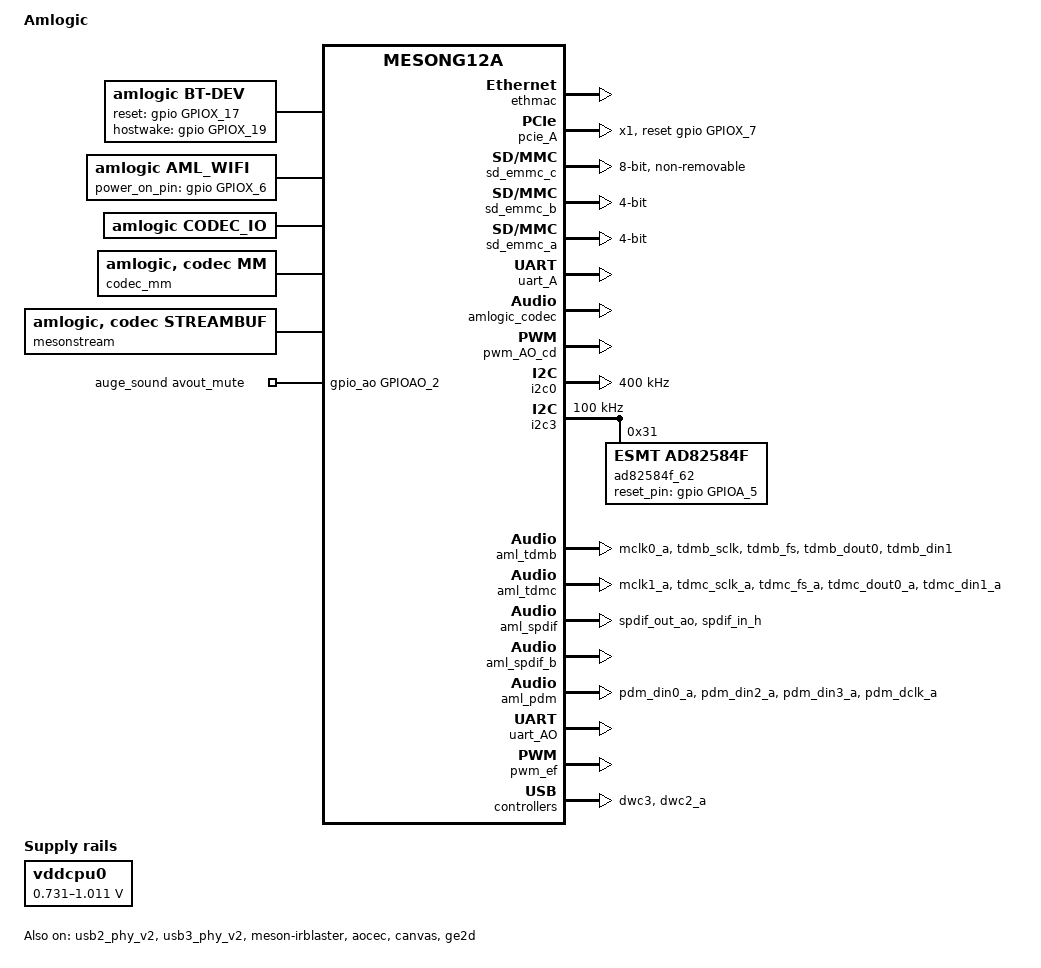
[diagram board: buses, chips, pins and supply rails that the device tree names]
/*
 * arch/arm64/boot/dts/amlogic/g12a_skt.dts
 *
 * Copyright (C) 2017 Amlogic, Inc. All rights reserved.
 *
 * This program is free software; you can redistribute it and/or modify
 * it under the terms of the GNU General Public License as published by
 * the Free Software Foundation; either version 2 of the License, or
 * (at your option) any later version.
 *
 * This program is distributed in the hope that it will be useful, but WITHOUT
 * ANY WARRANTY; without even the implied warranty of MERCHANTABILITY or
 * FITNESS FOR A PARTICULAR PURPOSE.  See the GNU General Public License for
 * more details.
 *
 */

/dts-v1/;

#include "mesong12a.dtsi"
#include "partition_mbox_normal.dtsi"
#include "mesong12a_skt-panel.dtsi"

/ {
	model = "Amlogic";
	compatible = "amlogic, g12a";
	interrupt-parent = <&gic>;
	#address-cells = <2>;
	#size-cells = <2>;

	aliases {
		serial0 = &uart_AO;
		serial1 = &uart_A;
		serial2 = &uart_B;
		serial3 = &uart_C;
		serial4 = &uart_AO_B;
		tsensor0 = &p_tsensor;
		tsensor1 = &d_tsensor;
	};

	memory@00000000 {
		device_type = "memory";
		linux,usable-memory = <0x0 0x100000 0x0 0x7ff00000>;
	};

	reserved-memory {
		#address-cells = <2>;
		#size-cells = <2>;
		ranges;
		/* global autoconfigured region for contiguous allocations */
		secmon_reserved:linux,secmon {
			compatible = "shared-dma-pool";
			reusable;
			size = <0x0 0x400000>;
			alignment = <0x0 0x400000>;
			alloc-ranges = <0x0 0x05000000 0x0 0x400000>;
		};

		secos_reserved:linux,secos {
			status = "disable";
			compatible = "amlogic, aml_secos_memory";
			reg = <0x0 0x05300000 0x0 0x2000000>;
			no-map;
		};
		logo_reserved:linux,meson-fb {
			compatible = "shared-dma-pool";
			reusable;
			size = <0x0 0x800000>;
			alignment = <0x0 0x400000>;
			alloc-ranges = <0x0 0x7f800000 0x0 0x800000>;
		};
		ion_cma_reserved:linux,ion-dev {
			compatible = "shared-dma-pool";
			reusable;
			size = <0x0 0x8000000>;
			alignment = <0x0 0x400000>;
		};
		//di_reserved:linux,di {
			//compatible = "amlogic, di-mem";
			/* buffer_size = 3621952(yuv422 8bit) */
			/* 4179008(yuv422 10bit full pack mode) */
			/** 10x3621952=34.6M(0x23) support 8bit **/
			/** 10x4736064=45.2M(0x2e) support 12bit **/
			/** 10x4179008=40M(0x28) support 10bit **/
			//size = <0x0 0x2800000>;
			//no-map;
		//};
		/*di CMA pool */
		di_cma_reserved:linux,di_cma {
			compatible = "shared-dma-pool";
			reusable;
			/* buffer_size = 3621952(yuv422 8bit)
			 *  | 4736064(yuv422 10bit)
			 *  | 4074560(yuv422 10bit full pack mode)
			 * 10x3621952=34.6M(0x23) support 8bit
			 * 10x4736064=45.2M(0x2e) support 12bit
			 * 10x4074560=40M(0x28) support 10bit
			 */
			size = <0x0 0x02800000>;
			alignment = <0x0 0x400000>;
		};
		/*  POST PROCESS MANAGER */
		ppmgr_reserved:linux,ppmgr {
			compatible = "shared-dma-pool";
			size = <0x0 0x0>;
		};

		codec_mm_cma:linux,codec_mm_cma {
			compatible = "shared-dma-pool";
			reusable;
			/* ion_codec_mm max can alloc size 80M*/
			size = <0x0 0x13400000>;
			alignment = <0x0 0x400000>;
			linux,contiguous-region;
		};
		/* codec shared reserved */
		codec_mm_reserved:linux,codec_mm_reserved {
			compatible = "amlogic, codec-mm-reserved";
			size = <0x0 0x0>;
			alignment = <0x0 0x100000>;
			//no-map;
		};
		/*  vdin0 CMA pool */
		vdin0_cma_reserved:linux,vdin0_cma {
			compatible = "shared-dma-pool";
			reusable;
		/* 1920x1080x2x4  =16+4 M */
			size = <0x0 0x04000000>;
			alignment = <0x0 0x400000>;
		};
		/*  vdin1 CMA pool */
		vdin1_cma_reserved:linux,vdin1_cma {
			compatible = "shared-dma-pool";
			reusable;
			/* 1920x1080x2x4  =16 M */
			size = <0x0 0x04000000>;
			alignment = <0x0 0x400000>;
		};
	};

	meson-irblaster {
		compatible = "amlogic, meson_irblaster";
		dev_name = "meson-irblaster";
		reg = <0x0 0xff80014c 0x0 0x10>,
			<0x0 0xff800040 0x0 0x4>;
		pinctrl-names = "default";
		pinctrl-0 = <&irblaster_pins>;
		status = "okay";
	};

	vout {
		compatible = "amlogic, vout";
		dev_name = "vout";
		status = "okay";
	};

	vout2 {
		compatible = "amlogic, vout2";
		dev_name = "vout";
		status = "okay";
	};
/*external_phy please use this
	ethmac: ethernet@ff3f0000 {
		compatible = "amlogic, g12a-eth-dwmac", "snps,dwmac";
		reg = <0x0 0xff3f0000 0x0 0x10000
			0x0 0xff634540 0x0 0x8
			0x0 0xff64c000 0x0 0xa0>;
		reg-names = "eth_base", "eth_cfg", "eth_pll";
		interrupts = <0 8 1>;
		interrupt-names = "macirq";
		status = "okay";
		clocks = <&clkc CLKID_ETH_CORE>;
		clock-names = "ethclk81";

		pinctrl-names = "external_eth_pins";
		pinctrl-0 = <&external_eth_pins>;
		mc_val = <0x1621>;

		internal_phy=<0>;
	};

*/
	ethmac: ethernet@ff3f0000 {
		compatible = "amlogic, g12a-eth-dwmac","snps,dwmac";
		reg = <0x0 0xff3f0000 0x0 0x10000
			0x0 0xff634540 0x0 0x8
			0x0 0xff64c000 0x0 0xa0>;
		reg-names = "eth_base", "eth_cfg", "eth_pll";
		interrupts = <0 8 1>;
		interrupt-names = "macirq";
		status = "okay";
		clocks = <&clkc CLKID_ETH_CORE>;
		clock-names = "ethclk81";

		pinctrl-names = "internal_eth_pins";
		pinctrl-0 = <&internal_eth_pins>;
		mc_val = <0x4be04>;

		internal_phy=<1>;
	};

	amhdmitx: amhdmitx{
		compatible = "amlogic, amhdmitx";
		dev_name = "amhdmitx";
		status = "okay";
		vend-data = <&vend_data>;
		pinctrl-names="default", "hdmitx_i2c";
		pinctrl-0=<&hdmitx_hpd &hdmitx_ddc>;
		pinctrl-1=<&hdmitx_hpd_gpio &i2c3_master_pins1>;
		clocks = <&clkc CLKID_VAPB_MUX>,
			 <&clkc CLKID_VPU_MUX>;
		clock-names = "hdmi_vapb_clk",
			      "hdmi_vpu_clk";
		/* HPD, 57 + 32 = 89; CEC, 151 + 32 = 183*/
		interrupts = <0 57 1>;
		interrupt-names = "hdmitx_hpd";
		/* 0:M8B 1:GXBB 2:GXTVBB 3:GXL 4:GXM
		 * 5:TXL 6:TXLX 7:AXG 8:GXLX 9:TXHD
		 * 10:G12A
		 */
		ic_type = <10>;
		vend_data: vend_data{ /* Should modified by Customer */
			vendor_name = "Amlogic"; /* Max Chars: 8 */
			/* standards.ieee.org/develop/regauth/oui/oui.txt */
			vendor_id = <0x000000>;
		};
	};

	vdac {
		compatible = "amlogic, vdac";
		dev_name = "vdac";
		status = "okay";
	};

	cvbsout {
		compatible = "amlogic, cvbsout-g12a";
		dev_name = "cvbsout";
		status = "okay";

		/* performance: reg_address, reg_value */
		/* s905x */
		performance = <0x1bf0  0x9
			0x1b56  0x343
			0x1b12  0x8080
			0x1b05  0xfd
			0x1c59  0xf752
			0xffff  0x0>; /* ending flag */
	};

	bt-dev{
		compatible = "amlogic, bt-dev";
		dev_name = "bt-dev";
		status = "okay";
		gpio_reset = <&gpio       GPIOX_17       GPIO_ACTIVE_HIGH>;
		gpio_hostwake = <&gpio       GPIOX_19       GPIO_ACTIVE_HIGH>;
	};

	wifi{
		compatible = "amlogic, aml_wifi";
		dev_name = "aml_wifi";
		status = "okay";
		interrupt_pin = <&gpio       GPIOX_7       GPIO_ACTIVE_HIGH>;
		irq_trigger_type = "GPIO_IRQ_LOW";
		power_on_pin = <&gpio       GPIOX_6       GPIO_ACTIVE_HIGH>;
		dhd_static_buf;	//if use bcm wifi, config dhd_static_buf
		pinctrl-names = "default";
		pinctrl-0 = <&pwm_e_pins>;
		pwm_config = <&wifi_pwm_conf>;
	};

	wifi_pwm_conf:wifi_pwm_conf{
		pwm_channel1_conf {
			pwms = <&pwm_ef MESON_PWM_0 30040 0>;
			duty-cycle = <15020>;
			times = <10>;
		};
		pwm_channel2_conf {
			pwms = <&pwm_ef MESON_PWM_2 30030 0>;
			duty-cycle = <15015>;
			times = <12>;
		};
	};

	pcie_A: pcieA@fc000000 {
		compatible = "amlogic, amlogic-pcie-v2", "snps,dw-pcie";
		reg = <0x0 0xfc000000 0x0 0x400000
			0x0 0xff648000 0x0 0x2000
			0x0 0xfc400000 0x0 0x200000
			0x0 0xff646000 0x0 0x2000
			0x0 0xffd01080 0x0 0x10>;
		reg-names = "elbi", "cfg", "config", "phy", "reset";
		reset-gpio = <&gpio GPIOX_7 GPIO_ACTIVE_HIGH>;
		interrupts = <0 221 0>, <0 223 0>;
		#interrupt-cells = <1>;
		bus-range = <0x0 0xff>;
		#address-cells = <3>;
		#size-cells = <2>;
		device_type = "pci";
		ranges = <0x81000000 0 0 0 0xfc600000 0x0 0x100000
			/* downstream I/O */
			0x82000000 0 0xfc700000 0x0 0xfc700000 0 0x1900000>;
			/* non-prefetchable memory */
		num-lanes = <1>;
		pcie-num = <1>;

		clocks = <&clkc CLKID_PCIE_PLL
			&clkc CLKID_PCIE_COMB
			&clkc CLKID_PCIE_PHY>;
		clock-names = "pcie_refpll",
				"pcie",
				"pcie_phy";
		/*reset-gpio-type 0:Shared pad(no reset)1:OD pad2:Normal pad*/
		gpio-type = <2>;
		pcie-apb-rst-bit = <15>;
		pcie-phy-rst-bit = <14>;
		pcie-ctrl-a-rst-bit = <12>;
		status = "okay";
	};

	sd_emmc_c: emmc@ffe07000 {
		status = "okay";
		compatible = "amlogic, meson-mmc-g12a";
		reg = <0x0 0xffe07000 0x0 0x800>;
		interrupts = <0 191 1>;
		pinctrl-names = "emmc_clk_cmd_pins", "emmc_all_pins";
		pinctrl-0 = <&emmc_clk_cmd_pins>;
		pinctrl-1 = <&emmc_conf_pull_up &emmc_conf_pull_done>;
		clocks = <&clkc CLKID_SD_EMMC_C>,
			   <&clkc CLKID_SD_EMMC_C_P0_COMP>,
			   <&clkc CLKID_FCLK_DIV2>,
			   <&clkc CLKID_FCLK_DIV5>,
			   <&xtal>;
		clock-names = "core", "clkin0", "clkin1", "clkin2", "xtal";

		bus-width = <8>;
		cap-sd-highspeed;
		cap-mmc-highspeed;
		/* mmc-ddr-1_8v; */
		/* mmc-hs200-1_8v; */

		max-frequency = <200000000>;
		non-removable;
		disable-wp;
		emmc {
			pinname = "emmc";
			ocr_avail = <0x200080>; /**VDD voltage 3.3 ~ 3.4 */
			caps = "MMC_CAP_8_BIT_DATA",
				 "MMC_CAP_MMC_HIGHSPEED",
				 "MMC_CAP_SD_HIGHSPEED",
				 "MMC_CAP_NONREMOVABLE",
				/* "MMC_CAP_1_8V_DDR", */
				 "MMC_CAP_HW_RESET",
				 "MMC_CAP_ERASE",
				 "MMC_CAP_CMD23";
			/* caps2 = "MMC_CAP2_HS200", "MMC_CAP2_HS400";*/
			f_min = <400000>;
			f_max = <200000000>;
			tx_delay = <0>;
			max_req_size = <0x20000>; /**128KB*/
			gpio_dat3 = <&gpio BOOT_3 GPIO_ACTIVE_HIGH>;
			hw_reset = <&gpio BOOT_9 GPIO_ACTIVE_HIGH>;
			card_type = <1>;
			/* 1:mmc card(include eMMC),
			 * 2:sd card(include tSD)
			 */
		};
	};

	sd_emmc_b:sd@ffe05000 {
		status = "okay";
		compatible = "amlogic, meson-mmc-g12a";
		reg = <0x0 0xffe05000 0x0 0x800>;
		interrupts = <0 190 1>;

		pinctrl-names = "sd_all_pins",
			"sd_clk_cmd_pins";
		pinctrl-0 = <&sd_all_pins>;
		pinctrl-1 = <&sd_clk_cmd_pins>;

		clocks = <&clkc CLKID_SD_EMMC_B>,
			<&clkc CLKID_SD_EMMC_B_P0_COMP>,
			<&clkc CLKID_FCLK_DIV2>,
			<&clkc CLKID_FCLK_DIV5>,
			<&xtal>;
		clock-names = "core", "clkin0", "clkin1", "clkin2", "xtal";

		bus-width = <4>;
		cap-sd-highspeed;
		cap-mmc-highspeed;
		max-frequency = <100000000>;
		disable-wp;
		sd {
			pinname = "sd";
			ocr_avail = <0x200080>; /**VDD voltage 3.3 ~ 3.4 */
			caps = "MMC_CAP_4_BIT_DATA",
				 "MMC_CAP_MMC_HIGHSPEED",
				 "MMC_CAP_SD_HIGHSPEED",
				 "MMC_CAP_UHS_SDR12",
				 "MMC_CAP_UHS_SDR25",
				 "MMC_CAP_UHS_SDR50";
			f_min = <400000>;
			f_max = <200000000>;
			max_req_size = <0x20000>; /**128KB*/
			gpio_dat3 = <&gpio GPIOC_4 GPIO_ACTIVE_HIGH>;
			jtag_pin = <&gpio GPIOC_0 GPIO_ACTIVE_HIGH>;
			gpio_cd = <&gpio GPIOC_6 GPIO_ACTIVE_HIGH>;
			card_type = <5>;
			/* 3:sdio device(ie:sdio-wifi),
			 * 4:SD combo (IO+mem) card
			 */
		};
	};
	sd_emmc_a:sdio@ffe03000 {
		status = "okay";
		compatible = "amlogic, meson-mmc-g12a";
		reg = <0x0 0xffe03000 0x0 0x800>;
		interrupts = <0 189 4>;

		pinctrl-names = "sdio_all_pins",
			"sdio_clk_cmd_pins";
		pinctrl-0 = <&sdio_all_pins>;
		pinctrl-1 = <&sdio_clk_cmd_pins>;

		clocks = <&clkc CLKID_SD_EMMC_A>,
			<&clkc CLKID_SD_EMMC_A_P0_COMP>,
			<&clkc CLKID_FCLK_DIV2>,
			<&clkc CLKID_FCLK_DIV5>,
			<&xtal>;
		clock-names = "core", "clkin0", "clkin1", "clkin2", "xtal";

		bus-width = <4>;
		cap-sd-highspeed;
		cap-mmc-highspeed;
		max-frequency = <100000000>;
		disable-wp;
		sdio {
			pinname = "sdio";
			ocr_avail = <0x200080>; /**VDD voltage 3.3 ~ 3.4 */
			caps = "MMC_CAP_4_BIT_DATA",
				 "MMC_CAP_MMC_HIGHSPEED",
				 "MMC_CAP_SD_HIGHSPEED",
				 "MMC_CAP_NONREMOVABLE",
				 "MMC_CAP_UHS_SDR12",
				 "MMC_CAP_UHS_SDR25",
				 "MMC_CAP_UHS_SDR50",
				 "MMC_CAP_UHS_SDR104",
				 "MMC_PM_KEEP_POWER",
				 "MMC_CAP_SDIO_IRQ";
			f_min = <400000>;
			f_max = <200000000>;
			/* max_req_size = <0x20000>; */ /**128KB*/
			max_req_size = <0x400>;
			card_type = <3>;
			/* 3:sdio device(ie:sdio-wifi),
			 * 4:SD combo (IO+mem) card
			 */
			dmode = "pio";
		};
	};
	nand: nfc@0 {
		compatible = "amlogic, aml_mtd_nand";
		dev_name = "mtdnand";
		status = "disabled";
		reg = <0x0 0xFFE07800 0x0 0x200>;
		interrupts = <0 34 1>;

		pinctrl-names = "nand_rb_mod","nand_norb_mod", "nand_cs_only";
		pinctrl-0 = <&all_nand_pins>;
		pinctrl-1 = <&all_nand_pins>;
		pinctrl-2 = <&nand_cs_pins>;
		clocks = <&clkc CLKID_SD_EMMC_C>,
				<&clkc CLKID_SD_EMMC_C_P0_COMP>;
		clock-names = "core", "clkin";

		device_id = <0>;
		/*fip/tpl configurations, must be same
		 * with uboot if bl_mode was set as 1
		 * bl_mode: 0 compact mode; 1 descrete mode
		 * if bl_mode was set as 1, fip configuration will work
		 */
		bl_mode = <1>;
		/*copy count of fip*/
		fip_copies = <4>;
		/*size of each fip copy */
		fip_size = <0x200000>;
		nand_clk_ctrl = <0xFFE07000>;
		plat-names = "bootloader","nandnormal";
		plat-num = <2>;
		plat-part-0 = <&bootloader>;
		plat-part-1 = <&nandnormal>;
		bootloader: bootloader{
			enable_pad ="ce0";
			busy_pad = "rb0";
			timming_mode = "mode5";
			bch_mode = "bch8_1k";
			t_rea = <20>;
			t_rhoh = <15>;
			chip_num = <1>;
			part_num = <0>;
			rb_detect = <1>;
		};
		nandnormal: nandnormal{
			enable_pad ="ce0";
			busy_pad = "rb0";
			timming_mode = "mode5";
			bch_mode = "bch8_1k";
			plane_mode = "twoplane";
			t_rea = <20>;
			t_rhoh = <15>;
			chip_num = <2>;
			part_num = <3>;
			partition = <&nand_partitions>;
			rb_detect = <1>;
		};
		nand_partitions:nand_partition{
			/*
			 * if bl_mode is 1, tpl size was generate by
			 * fip_copies * fip_size which
			 * will not skip bad when calculating
			 * the partition size;
			 *
			 * if bl_mode is 0,
			 * tpl partition must be comment out.
			 */
			tpl{
				offset=<0x0 0x0>;
				size=<0x0 0x0>;
			};
			logo{
				offset=<0x0 0x0>;
				size=<0x0 0x200000>;
			};
			recovery{
				offset=<0x0 0x0>;
				size=<0x0 0x1000000>;
			};
			boot{
				offset=<0x0 0x0>;
				size=<0x0 0x1000000>;
			};
			system{
				offset=<0x0 0x0>;
				size=<0x0 0x4000000>;
			};
			data{
				offset=<0xffffffff 0xffffffff>;
				size=<0x0 0x0>;
			};
		};
	};

	uart_A: serial@ffd24000 {
		compatible = "amlogic, meson-uart";
		reg = <0x0 0xffd24000 0x0 0x18>;
		interrupts = <0 26 1>;
		status = "okay";
		clocks = <&xtal
			&clkc CLKID_UART0>;
		clock-names = "clk_uart",
			"clk_gate";
		fifosize = < 128 >;
		pinctrl-names = "default";
		pinctrl-0 = <&a_uart_pins>;
	};

	uart_B: serial@ffd23000 {
		compatible = "amlogic, meson-uart";
		reg = <0x0 0xffd23000 0x0 0x18>;
		interrupts = <0 75 1>;
		status = "disable";
		clocks = <&xtal
			&clkc CLKID_UART1>;
		clock-names = "clk_uart",
			"clk_gate";
		fifosize = < 64 >;
		pinctrl-names = "default";
		pinctrl-0 = <&b_uart_pins>;
	};

	uart_C: serial@ffd22000 {
		compatible = "amlogic, meson-uart";
		reg = <0x0 0xffd22000 0x0 0x18>;
		interrupts = <0 93 1>;
		status = "disable";
		clocks = <&xtal
			&clkc CLKID_UART1>;
		clock-names = "clk_uart",
			"clk_gate";
		fifosize = < 64 >;
		pinctrl-names = "default";
		pinctrl-0 = <&c_uart_pins>;
	};

	aocec: aocec {
		compatible = "amlogic, aocec-g12a";
		device_name = "aocec";
		status = "okay";
		vendor_name = "Amlogic"; /* Max Chars: 8     */
		/* Refer to the following URL at:
		 * http://standards.ieee.org/develop/regauth/oui/oui.txt
		 */
		vendor_id = <0x000000>;
		product_desc = "G12A"; /* Max Chars: 16    */
		cec_osd_string = "AML_MBOX"; /* Max Chars: 14    */
		port_num = <1>;
		ee_cec;
		arc_port_mask = <0x2>;
		interrupts = <0 203 1>;
		interrupt-names = "hdmi_aocecb";
		pinctrl-names = "default";
		pinctrl-0=<&eecec_b>;
		reg = <0x0 0xFF80023c 0x0 0x4
		       0x0 0xFF800000 0x0 0x400>;
	};

	canvas{
		compatible = "amlogic, meson, canvas";
		dev_name = "amlogic-canvas";
		status = "okay";
		reg = <0x0 0xff638000 0x0 0x2000>;
	};

	codec_io {
		compatible = "amlogic, codec_io";
		status = "okay";
		#address-cells=<2>;
		#size-cells=<2>;
		ranges;
		io_cbus_base{
			reg = <0x0 0xffd00000 0x0 0x100000>;
		};
		io_dos_base{
			reg = <0x0 0xff620000 0x0 0x10000>;
		};
		io_hiubus_base{
			reg = <0x0 0xff63c000 0x0 0x2000>;
		};
		io_aobus_base{
			reg = <0x0 0xff800000 0x0 0x10000>;
		};
		io_vcbus_base{
			reg = <0x0 0xff900000 0x0 0x40000>;
		};
		io_dmc_base{
			reg = <0x0 0xff638000 0x0 0x2000>;
		};
	};

	codec_mm {
		compatible = "amlogic, codec, mm";
		memory-region = <&codec_mm_cma &codec_mm_reserved>;
		dev_name = "codec_mm";
		status = "okay";
	};

	mesonstream {
		compatible = "amlogic, codec, streambuf";
		dev_name = "mesonstream";
		status = "okay";
		clocks = <&clkc CLKID_DOS_PARSER
			&clkc CLKID_DEMUX
			&clkc CLKID_DOS
			&clkc CLKID_VDEC_MUX
			&clkc CLKID_HCODEC_MUX
			&clkc CLKID_HEVC_MUX
			&clkc CLKID_HEVCF_MUX>;
		clock-names = "parser_top",
			"demux",
			"vdec",
			"clk_vdec_mux",
			"clk_hcodec_mux",
			"clk_hevc_mux",
			"clk_hevcb_mux";
	};

	vdec {
		compatible = "amlogic, vdec";
		dev_name = "vdec.0";
		status = "okay";
		interrupts = <0 3 1
			0 23 1
			0 32 1
			0 43 1
			0 44 1
			0 45 1>;
		interrupt-names = "vsync",
			"demux",
			"parser",
			"mailbox_0",
			"mailbox_1",
			"mailbox_2";
	};

	rdma{
		compatible = "amlogic, meson, rdma";
		dev_name = "amlogic-rdma";
		status = "okay";
		interrupts = <0 89 1>;
		interrupt-names = "rdma";
	};

	ge2d {
		compatible = "amlogic, ge2d-g12a";
		dev_name = "ge2d";
		status = "okay";
		interrupts = <0 146 1>;
		interrupt-names = "ge2d";
		clocks = <&clkc CLKID_VAPB_MUX>,
			<&clkc CLKID_G2D>,
			<&clkc CLKID_GE2D_GATE>;
		clock-names = "clk_vapb_0",
			"clk_ge2d",
			"clk_ge2d_gate";
		reg = <0x0 0xff940000 0x0 0x10000>;
	};

	ppmgr {
		compatible = "amlogic, ppmgr";
		memory-region = <&ppmgr_reserved>;
		dev_name = "ppmgr";
		status = "okay";
	};

	deinterlace {
		compatible = "amlogic, deinterlace";
		status = "okay";
		/* 0:use reserved; 1:use cma; 2:use cma as reserved */
		flag_cma = <1>;
		//memory-region = <&di_reserved>;
		memory-region = <&di_cma_reserved>;
		interrupts = <0 46 1
				0 40 1>;
		interrupt-names = "pre_irq", "post_irq";
		clocks = <&clkc CLKID_VPU_MUX>,
			<&clkc CLKID_FCLK_DIV4>,
			<&clkc CLKID_VPU_CLKB_TMP_COMP>,
			<&clkc CLKID_VPU_CLKB_COMP>;
		clock-names = "vpu_mux",
			"fclk_div4",
			"vpu_clkb_tmp_composite",
			"vpu_clkb_composite";
		clock-range = <333 666>;
		/* buffer-size = <3621952>;(yuv422 8bit) */
		buffer-size = <4074560>;/*yuv422 fullpack*/
		/* reserve-iomap = "true"; */
		/* if enable nr10bit, set nr10bit-support to 1 */
		post-wr-support = <1>;
		nr10bit-support = <1>;
		nrds-enable = <1>;
		pps-enable = <1>;
	};
	ionvideo {
		compatible = "amlogic, ionvideo";
		dev_name = "ionvideo";
		status = "okay";
	};
	/*if you want to use vdin just modify status to "ok"*/
	vdin0 {
		compatible = "amlogic, vdin";
		memory-region = <&vdin0_cma_reserved>;
		dev_name = "vdin0";
		status = "okay";
		reserve-iomap = "true";
		flag_cma = <0>;/*1:share with codec_mm;2:cma alone*/
		/*MByte, if 10bit disable: 64M(YUV422),
		 *if 10bit enable: 64*1.5 = 96M(YUV422)
		 *if support 4K2K-YUV444-10bit-WR:3840*2160*4*4 ~= 128M
		 *if support 4K2K-YUV422-10bit-wr:3840*2160*3*4 ~= 96M
		 *if support 4K2K-YUV422-8BIT-WR:3840*2160*2*4 ~= 64M
		 *if support 1080p-YUV422-8BIT-WR:1920*1080*2*4 ~= 16M
		 */
		/*cma_size = <16>;*/
		interrupts = <0 83 1>;
		rdma-irq = <2>;
		/*clocks = <&clock CLK_FPLL_DIV5>,
		 *	<&clock CLK_VDIN_MEAS_CLK>;
		 *clock-names = "fclk_div5", "cts_vdin_meas_clk";
		 */
		vdin_id = <0>;
		/*vdin write mem color depth support:
		 *bit0:support 8bit
		 *bit1:support 9bit
		 *bit2:support 10bit
		 *bit3:support 12bit
		 *bit4:support yuv422 10bit full pack mode (from txl new add)
		 */
		tv_bit_mode = <0x15>;
	};
	vdin1 {
		compatible = "amlogic, vdin";
		memory-region = <&vdin1_cma_reserved>;
		dev_name = "vdin1";
		status = "okay";
		reserve-iomap = "true";
		flag_cma = <0>;/*1:share with codec_mm;0:cma alone*/
		interrupts = <0 85 1>;
		rdma-irq = <4>;
		/*clocks = <&clock CLK_FPLL_DIV5>,
		 *	<&clock CLK_VDIN_MEAS_CLK>;
		 *clock-names = "fclk_div5", "cts_vdin_meas_clk";
		 */
		vdin_id = <1>;
		/*vdin write mem color depth support:
		 *bit0:support 8bit
		 *bit1:support 9bit
		 *bit2:support 10bit
		 *bit3:support 12bit
		 */
		tv_bit_mode = <1>;
	};

	unifykey{
		compatible = "amlogic, unifykey";
		status = "ok";

		unifykey-num = <14>;
		unifykey-index-0 = <&keysn_0>;
		unifykey-index-1 = <&keysn_1>;
		unifykey-index-2 = <&keysn_2>;
		unifykey-index-3 = <&keysn_3>;
		unifykey-index-4 = <&keysn_4>;
		unifykey-index-5 = <&keysn_5>;
		unifykey-index-6 = <&keysn_6>;
		unifykey-index-7 = <&keysn_7>;
		unifykey-index-8 = <&keysn_8>;
		unifykey-index-9 = <&keysn_9>;
		unifykey-index-10= <&keysn_10>;
		unifykey-index-11= <&keysn_11>;
		unifykey-index-12= <&keysn_12>;
		unifykey-index-13= <&keysn_13>;

		keysn_0: key_0{
			key-name = "usid";
			key-device = "normal";
			key-permit = "read","write","del";
		};
		keysn_1:key_1{
			key-name = "mac";
			key-device = "normal";
			key-permit = "read","write","del";
		};
		keysn_2:key_2{
			key-name = "hdcp";
			key-device = "secure";
			key-type = "sha1";
			key-permit = "read","write","del";
		};
		keysn_3:key_3{
			key-name = "secure_boot_set";
			key-device = "efuse";
			key-permit = "write";
		};
		keysn_4:key_4{
			key-name = "mac_bt";
			key-device = "normal";
			key-permit = "read","write","del";
			key-type  = "mac";
		};
		keysn_5:key_5{
			key-name = "mac_wifi";
			key-device = "normal";
			key-permit = "read","write","del";
			key-type = "mac";
		};
		keysn_6:key_6{
			key-name = "hdcp2_tx";
			key-device = "normal";
			key-permit = "read","write","del";
		};
		keysn_7:key_7{
			key-name = "hdcp2_rx";
			key-device = "normal";
			key-permit = "read","write","del";
		};
		keysn_8:key_8{
			key-name = "widevinekeybox";
			key-device = "secure";
			key-permit = "read","write","del";
		};
		keysn_9:key_9{
			key-name = "deviceid";
			key-device = "normal";
			key-permit = "read","write","del";
		};
		keysn_10:key_10{
			key-name = "hdcp22_fw_private";
			key-device = "secure";
			key-permit = "read","write","del";
		};
		keysn_11:key_11{
			key-name = "PlayReadykeybox25";
			key-device = "secure";
			key-permit = "read","write","del";
		};
		keysn_12:key_12{
			key-name = "prpubkeybox";// PlayReady
			key-device = "secure";
			key-permit = "read","write","del";
		};
		keysn_13:key_13{
			key-name = "prprivkeybox";// PlayReady
			key-device = "secure";
			key-permit = "read","write","del";
		};
	};//End unifykey

	amlvecm {
		compatible = "amlogic, vecm";
		dev_name = "aml_vecm";
		status = "okay";
		gamma_en = <0>;/*1:enabel ;0:disable*/
		wb_en = <0>;/*1:enabel ;0:disable*/
		cm_en = <0>;/*1:enabel ;0:disable*/
	};

	meson-amvideom {
		compatible = "amlogic, amvideom";
		dev_name = "amvideom";
		status = "okay";
		interrupts = <0 3 1>;
		interrupt-names = "vsync";
	};

	meson-fb {
		compatible = "amlogic, meson-g12a";
		memory-region = <&logo_reserved>;
		dev_name = "meson-fb";
		status = "okay";
		interrupts = <0 3 1
			0 89 1>;
		interrupt-names = "viu-vsync", "rdma";
		mem_size = <0x00800000 0x1980000 0x100000 0x100000>;
		/* uboot logo,fb0/fb1 memory size,if afbcd fb0=0x01851000*/
		display_mode_default = "1080p60hz";
		scale_mode = <1>;
		/** 0:VPU free scale 1:OSD free scale 2:OSD super scale */
		display_size_default = <1920 1080 1920 2160 32>;
		/*1920*1080*4*3 = 0x17BB000*/
		pxp_mode = <0>; /** 0:normal mode 1:pxp mode */
		mem_alloc = <0>;
		logo_addr = "0x3f800000";
	};

	/* Audio Related start */
	/* Sound iomap */
	aml_snd_iomap {
		compatible = "amlogic, snd-iomap";
		status = "okay";
		#address-cells=<2>;
		#size-cells=<2>;
		ranges;
		pdm_bus {
			reg = <0x0 0xFF640000 0x0 0x2000>;
		};
		audiobus_base {
			reg = <0x0 0xFF642000 0x0 0x2000>;
		};
		audiolocker_base {
			reg = <0x0 0xFF64A000 0x0 0x2000>;
		};
		eqdrc_base {
			reg = <0x0 0xFF642800 0x0 0x1800>;
		};
		reset_base {
			reg = <0x0 0xFFD01000 0x0 0x1000>;
		};
	};
	pdm_codec:dummy{
		#sound-dai-cells = <0>;
		compatible = "amlogic, pdm_dummy_codec";
		status = "okay";
	};
	dummy_codec:dummy{
		#sound-dai-cells = <0>;
		compatible = "amlogic, aml_dummy_codec";
		status = "okay";
	};
	amlogic_codec:t9015{
		#sound-dai-cells = <0>;
		compatible = "amlogic, aml_codec_T9015";
		reg = <0x0 0xFF632000 0x0 0x2000>;
		is_auge_used = <1>; /* meson or auge chipset used */
		tdmout_index = <1>;
		status = "okay";
	};
	auge_sound {
		compatible = "amlogic, g12a-sound-card";
		aml-audio-card,name = "AML-AUGESOUND";

		aml-audio-card,aux-devs = <&amlogic_codec>;
		/*avout mute gpio*/
		avout_mute-gpios = <&gpio_ao GPIOAO_2 GPIO_ACTIVE_HIGH>;

		aml-audio-card,dai-link@0 {
			format = "dsp_a";
			mclk-fs = <512>;
			//continuous-clock;
			//bitclock-inversion;
			//frame-inversion;
			//bitclock-master = <&tdmacodec>;
			//frame-master = <&tdmacodec>;
			tdmacpu: cpu {
				sound-dai = <&aml_tdma>;
				dai-tdm-slot-tx-mask =
							<1 1 1 1 1 1 1 1>;
				dai-tdm-slot-rx-mask =
							<1 1 1 1 1 1 1 1>;
				dai-tdm-slot-num = <8>;
				dai-tdm-slot-width = <32>;
				system-clock-frequency = <24576000>;
			};
			tdmacodec: codec {
				sound-dai = <&dummy_codec &dummy_codec>;
			};
		};

		aml-audio-card,dai-link@1 {
			format = "i2s"; /*"dsp_a";*/
			mclk-fs = <256>;
			//continuous-clock;
			//bitclock-inversion;
			//frame-inversion;
			bitclock-master = <&aml_tdmb>;
			frame-master = <&aml_tdmb>;
			cpu {
				sound-dai = <&aml_tdmb>;
				dai-tdm-slot-tx-mask = <1 1>;
				dai-tdm-slot-rx-mask = <1 1>;
				dai-tdm-slot-num = <2>;
				/*
				 * dai-tdm-slot-tx-mask =
				 *	<1 1 1 1 1 1 1 1>;
				 * dai-tdm-slot-rx-mask =
				 *	<1 1 1 1 1 1 1 1>;
				 * dai-tdm-slot-num = <8>;
				 */
				dai-tdm-slot-width = <32>;
				system-clock-frequency = <12288000>;
			};
			codec {
				sound-dai = <&dummy_codec &amlogic_codec
					/*&ad82584f_62*/>;
			};
		};

		aml-audio-card,dai-link@2 {
			format = "i2s";
			mclk-fs = <256>;
			continuous-clock;
			//bitclock-inversion;
			//frame-inversion;
			bitclock-master = <&aml_tdmc>;
			frame-master = <&aml_tdmc>;
			cpu {
				sound-dai = <&aml_tdmc>;
				dai-tdm-slot-tx-mask = <1 1>;
				dai-tdm-slot-rx-mask = <1 1>;
				dai-tdm-slot-num = <2>;
				dai-tdm-slot-width = <32>;
				system-clock-frequency = <12288000>;
			};
			codec {
				sound-dai = <&dummy_codec &dummy_codec>;
			};
		};

		aml-audio-card,dai-link@3 {
			mclk-fs = <64>;
			cpu {
				sound-dai = <&aml_pdm>;
			};
			codec {
				sound-dai = <&pdm_codec>;
			};
		};

		aml-audio-card,dai-link@4 {
			mclk-fs = <128>;
			cpu {
				sound-dai = <&aml_spdif>;
				system-clock-frequency = <6144000>;
			};
			codec {
				sound-dai = <&dummy_codec>;
			};
		};
		aml-audio-card,dai-link@5 {
			mclk-fs = <128>;
			cpu {
				sound-dai = <&aml_spdif_b>;
				system-clock-frequency = <6144000>;
			};
			codec {
				sound-dai = <&dummy_codec>;
			};
		};
	};
	audiolocker: locker {
		compatible = "amlogic, audiolocker";
		clocks = <&clkaudio CLKID_AUDIO_LOCKER_OUT
				&clkaudio CLKID_AUDIO_LOCKER_IN
				&clkaudio CLKID_AUDIO_MCLK_D
				&clkaudio CLKID_AUDIO_MCLK_E
				&clkc CLKID_MPLL1
				&clkc CLKID_MPLL2>;
		clock-names = "lock_out", "lock_in", "out_src",
					"in_src", "out_calc", "in_ref";
		interrupts = <GIC_SPI 1 IRQ_TYPE_EDGE_RISING>;
		interrupt-names = "irq";
		frequency = <49000000>; /* pll */
		dividor = <49>; /* locker's parent */
		status = "disabled";
	};
	/* Audio Related end */

	cpu_opp_table0: cpu_opp_table0 {
		compatible = "operating-points-v2";
		opp-shared;

		opp00 {
			opp-hz = /bits/ 64 <100000000>;
			opp-microvolt = <731000>;
		};
		opp01 {
			opp-hz = /bits/ 64 <250000000>;
			opp-microvolt = <731000>;
		};
		opp02 {
			opp-hz = /bits/ 64 <500000000>;
			opp-microvolt = <731000>;
		};
		opp03 {
			opp-hz = /bits/ 64 <667000000>;
			opp-microvolt = <731000>;
		};
		opp04 {
			opp-hz = /bits/ 64 <1000000000>;
			opp-microvolt = <731000>;
		};
		opp05 {
			opp-hz = /bits/ 64 <1200000000>;
			opp-microvolt = <731000>;
		};
		opp06 {
			opp-hz = /bits/ 64 <1398000000>;
			opp-microvolt = <761000>;
		};
		opp07 {
			opp-hz = /bits/ 64 <1512000000>;
			opp-microvolt = <791000>;
		};
		opp08 {
			opp-hz = /bits/ 64 <1608000000>;
			opp-microvolt = <831000>;
		};
		opp09 {
			opp-hz = /bits/ 64 <1896000000>;
			opp-microvolt = <981000>;
		};
	};

	cpufreq-meson {
		compatible = "amlogic, cpufreq-meson";
		pinctrl-names = "default";
		pinctrl-0 = <&pwm_ao_d_pins3>;
		status = "okay";
	};

	vddcpu0: pwmao_d-regulator {
		compatible = "pwm-regulator";
		pwms = <&pwm_AO_cd MESON_PWM_1 1210 0>;
		regulator-name = "vddcpu0";
		regulator-min-microvolt = <731000>;
		regulator-max-microvolt = <1011000>;
		regulator-always-on;
		max-duty-cycle = <1210>;
		/* Voltage Duty-Cycle */
		voltage-table = <1011000 0>,
			<1001000 6>,
			<991000 9>,
			<981000 12>,
			<971000 16>,
			<961000 19>,
			<951000 23>,
			<941000 26>,
			<931000 29>,
			<921000 33>,
			<911000 36>,
			<901000 39>,
			<891000 43>,
			<881000 46>,
			<871000 50>,
			<861000 53>,
			<851000 56>,
			<841000 60>,
			<831000 63>,
			<821000 67>,
			<811000 70>,
			<801000 73>,
			<791000 77>,
			<781000 80>,
			<771000 84>,
			<761000 87>,
			<751000 90>,
			<741000 94>,
			<731000 100>;

		status = "okay";
	 };

	meson_cooldev: meson-cooldev@0 {
			status = "okay";
			compatible = "amlogic, meson-cooldev";
			device_name = "mcooldev";
			cooling_devices {
				cpucore_cool_cluster0 {
					min_state = <1>;
					dyn_coeff = <0>;
					cluster_id = <0>;
					node_name = "cpucore_cool0";
					device_type = "cpucore";
				};
			};
			cpucore_cool0:cpucore_cool0 {
				#cooling-cells = <2>; /* min followed by max */
			};
		};
		/*meson cooling devices end*/

	thermal-zones {
		soc_thermal: soc_thermal {
			polling-delay = <1000>;
			polling-delay-passive = <100>;
			sustainable-power = <1050>;
			thermal-sensors = <&p_tsensor 0>;
			trips {
				switch_on: trip-point@0 {
					temperature = <60000>;
					hysteresis = <2000>;
					type = "passive";
				};
				control: trip-point@1 {
					temperature = <75000>;
					hysteresis = <2000>;
					type = "passive";
				};
				hot: trip-point@2 {
					temperature = <85000>;
					hysteresis = <3000>;
					type = "hot";
				};
				critical: trip-point@3 {
					temperature = <150000>;
					hysteresis = <1000>;
					type = "critical";
				};
			};
		};
		ddr_thermal: ddr_thermal {
			polling-delay = <1000>;
			polling-delay-passive = <100>;
			sustainable-power = <1050>;
			thermal-sensors = <&d_tsensor 1>;
			trips {
				dswitch_on: trip-point@0 {
					temperature = <60000>;
					hysteresis = <2000>;
					type = "passive";
				};
				dcontrol: trip-point@1 {
					temperature = <75000>;
					hysteresis = <2000>;
					type = "passive";
				};
				dhot: trip-point@2 {
					temperature = <85000>;
					hysteresis = <3000>;
					type = "hot";
				};
				dcritical: trip-point@3 {
					temperature = <150000>;
					hysteresis = <1000>;
					type = "critical";
				};
			};

		};
	};
	/*thermal zone end*/
}; /* end of / */

&pwm_AO_cd {
		status = "okay";
};

&i2c0 {
	status = "okay";
	pinctrl-names="default";
	pinctrl-0=<&i2c0_master_pins2>;
	clock-frequency = <400000>;

	gt9xx@5d {
		compatible = "goodix,gt9xx";
		status = "disabled";
		reg = <0x5d>;
		reset-gpio = <&gpio GPIOZ_9 0x00>;
		irq-gpio = <&gpio GPIOZ_3 0x00>;
	};

	ftxx@38 {
		compatible = "focaltech,fts";
		status = "disabled";
		reg = <0x38>;
		reset-gpio = <&gpio GPIOZ_9 0x00>;
		irq-gpio = <&gpio GPIOZ_3 0x00>;
		x_max = <600>;
		y_max = <1024>;
		max-touch-number = <10>;
	};
};

&i2c3 {
	status = "okay";
	pinctrl-names="default";
	pinctrl-0=<&i2c3_master_pins2>;
	clock-frequency = <100000>; /* default 100k */

	/* for ref board */
	ad82584f_62: ad82584f_62@62 {
		compatible = "ESMT, ad82584f";
		#sound-dai-cells = <0>;
		reg = <0x31>;
		status = "okay";
		reset_pin = <&gpio GPIOA_5 0>;
	};

	tas5707_36: tas5707_36@36 {
		compatible = "ti,tas5707";
		#sound-dai-cells = <0>;
		reg = <0x1b>;
		status = "disabled";
		reset_pin = <&gpio GPIOA_5 0>;
	};

};

&audiobus {
	aml_tdma: tdma {
		compatible = "amlogic, g12a-snd-tdma";
		#sound-dai-cells = <0>;
		dai-tdm-lane-slot-mask-in = <1 0>;
		dai-tdm-lane-slot-mask-out = <0 1>;
		dai-tdm-clk-sel = <0>;
		clocks = <&clkaudio CLKID_AUDIO_MCLK_A
				&clkc CLKID_MPLL0>;
		clock-names = "mclk", "clk_srcpll";
		pinctrl-names = "tdm_pins";
		pinctrl-0 = <&tdmout_a &tdmin_a>;
	};

	aml_tdmb: tdmb {
		compatible = "amlogic, g12a-snd-tdmb";
		#sound-dai-cells = <0>;
		dai-tdm-lane-slot-mask-in = <0 1 0 0>;
		dai-tdm-lane-slot-mask-out = <1 0 0 0>;
		dai-tdm-clk-sel = <1>;
		clocks = <&clkaudio CLKID_AUDIO_MCLK_B
				&clkc CLKID_MPLL1>;
		clock-names = "mclk", "clk_srcpll";
		pinctrl-names = "tdm_pins";
		pinctrl-0 = <&tdmb_mclk &tdmout_b &tdmin_b>;
	};

	aml_tdmc: tdmc {
		compatible = "amlogic, g12a-snd-tdmc";
		#sound-dai-cells = <0>;
		dai-tdm-lane-slot-mask-in = <0 1 0 0>;
		#dai-tdm-lane-slot-mask-out = <1 0 1 1>;
		#dai-tdm-lane-oe-slot-mask-in = <0 0 0 0>;
		dai-tdm-lane-oe-slot-mask-out = <1 0 0 0>;
		dai-tdm-clk-sel = <2>;
		clocks = <&clkaudio CLKID_AUDIO_MCLK_C
				&clkc CLKID_MPLL2>;
		clock-names = "mclk", "clk_srcpll";
		pinctrl-names = "tdm_pins";
		pinctrl-0 = <&tdmc_mclk &tdmout_c &tdmin_c>;
	};

	aml_spdif: spdif {
		compatible = "amlogic, g12a-snd-spdif-a";
		#sound-dai-cells = <0>;
		clocks = <&clkc CLKID_MPLL0
				&clkc CLKID_FCLK_DIV4
				&clkaudio CLKID_AUDIO_SPDIFIN
				&clkaudio CLKID_AUDIO_SPDIFOUT
				&clkaudio CLKID_AUDIO_SPDIFIN_CTRL
				&clkaudio CLKID_AUDIO_SPDIFOUT_CTRL>;
		clock-names = "sysclk", "fixed_clk", "gate_spdifin",
				"gate_spdifout", "clk_spdifin", "clk_spdifout";
		interrupts =
				<GIC_SPI 151 IRQ_TYPE_EDGE_RISING>;

		interrupt-names = "irq_spdifin";
		pinctrl-names = "spdif_pins";
		pinctrl-0 = <&spdifout &spdifin>;
		status = "okay";
	};
	aml_spdif_b: spdif_b {
		compatible = "amlogic, g12a-snd-spdif-b";
		#sound-dai-cells = <0>;
		clocks = <&clkc CLKID_MPLL0 /*CLKID_HIFI_PLL*/
				&clkaudio CLKID_AUDIO_SPDIFOUTB
				&clkaudio CLKID_AUDIO_SPDIFOUTB_CTRL>;
		clock-names = "sysclk",
				"gate_spdifout", "clk_spdifout";
		//pinctrl-names = "spdif_pins";
		//pinctrl-0 = <&spdifout>;
		status = "okay";
	};
	aml_pdm: pdm {
		compatible = "amlogic, g12a-snd-pdm";
		#sound-dai-cells = <0>;
		clocks = <&clkaudio CLKID_AUDIO_PDM
			&clkc CLKID_FCLK_DIV3
			&clkc CLKID_MPLL3
			&clkaudio CLKID_AUDIO_PDMIN0
			&clkaudio CLKID_AUDIO_PDMIN1>;
		clock-names = "gate",
			"sysclk_srcpll",
			"dclk_srcpll",
			"pdm_dclk",
			"pdm_sysclk";
		pinctrl-names = "pdm_pins";
		pinctrl-0 = <&pdmin>;
		filter_mode = <1>; /* mode 0~4, defalut:1 */
		status = "okay";
	};
	aml_pwrdet: pwrdet {
		compatible = "amlogic, g12a-power-detect";

		interrupts = <GIC_SPI 155 IRQ_TYPE_EDGE_RISING>;
		interrupt-names = "pwrdet_irq";

		/* pwrdet source sel
		 * 7: loopback;
		 * 6: tdmin_lb;
		 * 5: reserved;
		 * 4: pdmin;
		 * 3: spdifin;
		 * 2: tdmin_c;
		 * 1: tdmin_b;
		 * 0: tdmin_a;
		 */
		pwrdet_src = <4>;

		hi_th = <0x70000>;
		lo_th = <0x16000>;

		status = "disabled";
	};
}; /* end of audiobus */

&pinctrl_periphs {
	tdmout_a: tdmout_a {
		mux { /* GPIOX_11, GPIOX_10, GPIOX_9 */
			groups = "tdma_sclk",
				"tdma_fs",
				"tdma_dout0";
			function = "tdma_out";
		};
	};

	tdmin_a: tdmin_a {
		mux { /* GPIOX_8 */
			groups = "tdma_din1";
			function = "tdma_in";
		};
	};

	tdmb_mclk: tdmb_mclk {
		mux {
			groups = "mclk0_a";
			function = "mclk0";
		};
	};
	tdmout_b: tdmout_b {
		mux { /* GPIOA_1, GPIOA_2, GPIOA_3 */
			groups = "tdmb_sclk",
				"tdmb_fs",
				"tdmb_dout0";
			function = "tdmb_out";
		};
	};

	tdmin_b:tdmin_b {
		mux { /* GPIOA_4 */
			groups = "tdmb_din1";
			function = "tdmb_in";
		};
	};

	tdmc_mclk: tdmc_mclk {
		mux { /* GPIOA_11 */
			groups = "mclk1_a";
			function = "mclk1";
		};
	};

	tdmout_c:tdmout_c {
		mux { /* GPIOA_12, GPIOA_13, GPIOA_10, GPIOA_8, GPIOA_7*/
			groups = "tdmc_sclk_a",
				"tdmc_fs_a",
				"tdmc_dout0_a"
				/*,	"tdmc_dout2",
				 * "tdmc_dout3"
				 */;
			function = "tdmc_out";
		};
	};

	tdmin_c:tdmin_c {
		mux { /* GPIOA_9 */
			groups = "tdmc_din1_a";
			function = "tdmc_in";
		};
	};

	spdifin: spdifin {
		mux {/* GPIOH_5 */
			groups = "spdif_in_h";
			function = "spdif_in";
		};
	};

	/* GPIOH_4 */
	/*
	 * spdifout: spdifout {
	 *	mux {
	 *		groups = "spdif_out_h";
	 *		function = "spdif_out";
	 *	};
	 *};
	 */

	pdmin: pdmin {
		mux { /* gpioa_5, gpioa_6, gpioa_7, gpioa_8, gpioa_9*/
			groups = "pdm_din0_a",
			/*"pdm_din1_a",*/
			"pdm_din2_a",
			"pdm_din3_a",
			"pdm_dclk_a";
			function = "pdm";
		};
	};

	bl_pwm_on_pins: bl_pwm_on_pin {
		mux {
			groups = "pwm_f_h";
			function = "pwm_f";
		};
	};

}; /* end of pinctrl_periphs */
&pinctrl_aobus {
	spdifout: spdifout {
		mux { /* gpiao_10 */
			groups = "spdif_out_ao";
			function = "spdif_out_ao";
		};
	};
};  /* end of pinctrl_aobus */
/* Audio Related End */

&aobus{
	uart_AO: serial@3000 {
		compatible = "amlogic, meson-uart";
		reg = <0x0 0x3000 0x0 0x18>;
		interrupts = <0 193 1>;
		status = "okay";
		clocks = <&xtal>;
		clock-names = "clk_uart";
		xtal_tick_en = <2>;
		fifosize = < 64 >;
		pinctrl-names = "default";
		pinctrl-0 = <&ao_uart_pins>;
		support-sysrq = <0>;    /* 0 not support , 1 support */
	};

	uart_AO_B: serial@4000 {
		compatible = "amlogic, meson-uart";
		reg = <0x0 0x4000 0x0 0x18>;
		interrupts = <0 197 1>;
		status = "disable";
		clocks = <&xtal>;
		clock-names = "clk_uart";
		fifosize = < 64 >;
		pinctrl-names = "default";
		pinctrl-0 = <&ao_b_uart_pins>;
	};
};

&pwm_ef {
	status = "okay";
};

&dwc3 {
	status = "okay";
};

&usb2_phy_v2 {
	status = "okay";
	portnum = <2>;
};

&usb3_phy_v2 {
	status = "okay";
	portnum = <0>;
	otg = <1>;
	gpio-vbus-power = "GPIOH_6";
	gpios = <&gpio GPIOH_6 GPIO_ACTIVE_HIGH>;
};

&dwc2_a {
	status = "okay";
	/** 0: normal, 1: otg+dwc3 host only, 2: otg+dwc3 device only*/
	controller-type = <3>;
};

